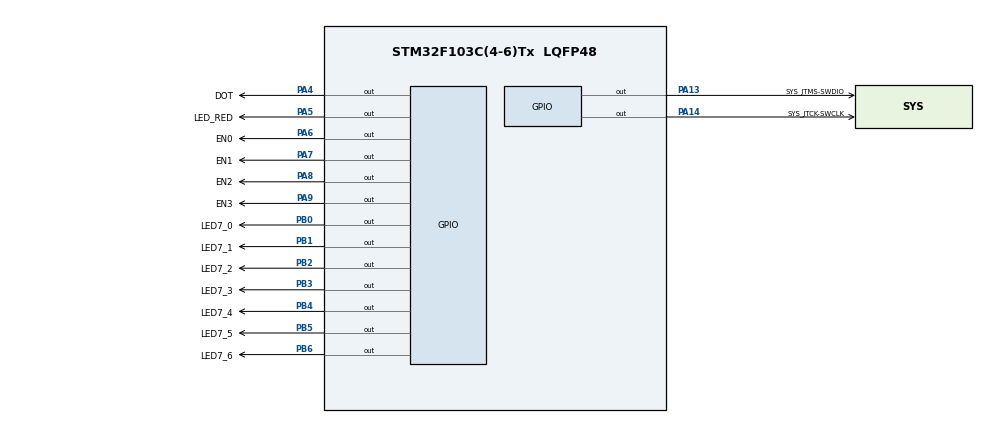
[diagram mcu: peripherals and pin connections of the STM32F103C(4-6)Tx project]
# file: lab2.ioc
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Mcu.Family=STM32F1
Mcu.Name=STM32F103C(4-6)Tx
Mcu.Package=LQFP48
NVIC.PriorityGroup=NVIC_PRIORITYGROUP_4
NVIC.TIM2_IRQn=true\:0\:0\:false\:false\:true\:true\:true
PA13.GPIO_Label=SYS_JTMS-SWDIO
PA13.Signal=GPIO_Output
PA14.GPIO_Label=SYS_JTCK-SWCLK
PA14.Signal=GPIO_Output
PA4.GPIO_Label=DOT
PA4.Signal=GPIO_Output
PA5.GPIO_Label=LED_RED
PA5.Signal=GPIO_Output
PA6.GPIO_Label=EN0
PA6.Signal=GPIO_Output
PA7.GPIO_Label=EN1
PA7.Signal=GPIO_Output
PA8.GPIO_Label=EN2
PA8.Signal=GPIO_Output
PA9.GPIO_Label=EN3
PA9.Signal=GPIO_Output
PB0.GPIO_Label=LED7_0
PB0.Signal=GPIO_Output
PB1.GPIO_Label=LED7_1
PB1.Signal=GPIO_Output
PB2.GPIO_Label=LED7_2
PB2.Signal=GPIO_Output
PB3.GPIO_Label=LED7_3
PB3.Signal=GPIO_Output
PB4.GPIO_Label=LED7_4
PB4.Signal=GPIO_Output
PB5.GPIO_Label=LED7_5
PB5.Signal=GPIO_Output
PB6.GPIO_Label=LED7_6
PB6.Signal=GPIO_Output
ProjectManager.HeapSize=0x200
ProjectManager.StackSize=0x400
ProjectManager.TargetToolchain=STM32CubeIDE
RCC.APB1Freq_Value=8000000
RCC.APB2Freq_Value=8000000
TIM2.Period=9
TIM2.Prescaler=7999
VP_SYS_VS_ND.Mode=No_Debug
VP_TIM2_VS_ClockSourceINT.Mode=Internal
board=custom

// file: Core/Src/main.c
/* USER CODE BEGIN Header */
/**
  ******************************************************************************
  * @file           : main.c
  * @brief          : Main program body
  ******************************************************************************
  * @attention
  *
  * <h2><center>&copy; Copyright (c) 2023 STMicroelectronics.
  * All rights reserved.</center></h2>
  *
  * This software component is licensed by ST under BSD 3-Clause license,
  * the "License"; You may not use this file except in compliance with the
  * License. You may obtain a copy of the License at:
  *                        opensource.org/licenses/BSD-3-Clause
  *
  ******************************************************************************
  */
/* USER CODE END Header */
#include "main.h"

/* USER CODE BEGIN Includes */
#include "software_timer.h"
#include "display_7_seg.h"
/* USER CODE END Includes */

TIM_HandleTypeDef htim2;

void SystemClock_Config(void);
static void MX_TIM2_Init(void);
static void MX_GPIO_Init(void);

/* USER CODE BEGIN 0 */
const int MAX_LED = 4;
int index_led = 0;
int led_buffer [4] = {1 , 2 , 3 , 4};
void update7SEG ( int index ) {
	 switch ( index ) {
		 case 0:
			 HAL_GPIO_WritePin ( EN0_GPIO_Port , EN0_Pin , 0) ;
			 HAL_GPIO_WritePin ( GPIOA , EN1_Pin | EN2_Pin | EN3_Pin , 1) ;
			 display7SEG ( led_buffer [ index ]) ;
			 break ;
		 case 1:
			 HAL_GPIO_WritePin ( EN1_GPIO_Port , EN1_Pin , 0) ;
			 HAL_GPIO_WritePin ( GPIOA , EN0_Pin | EN2_Pin | EN3_Pin , 1) ;
			 display7SEG ( led_buffer [ index ]) ;
			 break ;
		 case 2:
			 HAL_GPIO_WritePin ( EN2_GPIO_Port , EN2_Pin , 0) ;
			 HAL_GPIO_WritePin ( GPIOA , EN0_Pin | EN1_Pin | EN3_Pin , 1) ;
			 display7SEG ( led_buffer [ index ]) ;
			 break ;
		 case 3:
			 HAL_GPIO_WritePin ( EN3_GPIO_Port , EN3_Pin , 0) ;
			 HAL_GPIO_WritePin ( GPIOA , EN0_Pin | EN1_Pin | EN2_Pin , 1) ;
			 display7SEG ( led_buffer [ index ]) ;
			 break ;
		 default :
			 break ;
 	 }
 }
int hour = 15 , minute = 8 , second = 55;

void updateClockBuffer () {
	if( hour < 10) {
		led_buffer [0] = 0;
		led_buffer [1] = hour ;
	} else {
		led_buffer [0] = hour / 10;
		led_buffer [1] = hour % 10;
	}
	if( minute < 10) {
		led_buffer [2] = 0;
		led_buffer [3] = minute ;
	} else {
		led_buffer [2] = minute / 10;
		led_buffer [3] = minute % 10;
	}

}
/* USER CODE END 0 */

int main(void)
{

  /* MCU Configuration--------------------------------------------------------*/

  /* Reset of all peripherals, Initializes the Flash interface and the Systick. */
  HAL_Init();

  /* Configure the system clock */
  SystemClock_Config();

  /* Initialize all configured peripherals */
  MX_TIM2_Init();
  MX_GPIO_Init();
  /* USER CODE BEGIN 2 */
  HAL_TIM_Base_Start_IT (& htim2 ) ;
  /* USER CODE END 2 */

  /* Infinite loop */
  /* USER CODE BEGIN WHILE */
  setTimer1(1);
  setTimer2(100);
  setTimer3(1);
  init7SEG();
  while (1)
  {
	if(timer3_flag){
		setTimer3(25);
		if(index_led>3){
			index_led=0;
		}
		update7SEG(index_led++);
	}
	if(timer2_flag){
		HAL_GPIO_TogglePin(DOT_GPIO_Port, DOT_Pin);
		setTimer2(100);
	}
	if(timer1_flag){
		HAL_GPIO_TogglePin( LED_RED_GPIO_Port , LED_RED_Pin ) ;
		setTimer1(100) ;
		second++;
		if( second >= 60) {
			second = 0;
			minute++;
		}
		if( minute >= 60) {
			minute = 0;
			hour++;
		}
		if( hour >= 24)
			hour = 0;
		updateClockBuffer() ;
	}
    /* USER CODE END WHILE */

  }
}

void SystemClock_Config(void)
{
  RCC_OscInitTypeDef RCC_OscInitStruct = {0};
  RCC_ClkInitTypeDef RCC_ClkInitStruct = {0};

  /** Initializes the RCC Oscillators according to the specified parameters
  * in the RCC_OscInitTypeDef structure.
  */
  RCC_OscInitStruct.OscillatorType = RCC_OSCILLATORTYPE_HSI;
  RCC_OscInitStruct.HSIState = RCC_HSI_ON;
  RCC_OscInitStruct.HSICalibrationValue = RCC_HSICALIBRATION_DEFAULT;
  RCC_OscInitStruct.PLL.PLLState = RCC_PLL_NONE;
  if (HAL_RCC_OscConfig(&RCC_OscInitStruct) != HAL_OK)
  {
    Error_Handler();
  }
  /** Initializes the CPU, AHB and APB buses clocks
  */
  RCC_ClkInitStruct.ClockType = RCC_CLOCKTYPE_HCLK|RCC_CLOCKTYPE_SYSCLK
                              |RCC_CLOCKTYPE_PCLK1|RCC_CLOCKTYPE_PCLK2;
  RCC_ClkInitStruct.SYSCLKSource = RCC_SYSCLKSOURCE_HSI;
  RCC_ClkInitStruct.AHBCLKDivider = RCC_SYSCLK_DIV1;
  RCC_ClkInitStruct.APB1CLKDivider = RCC_HCLK_DIV1;
  RCC_ClkInitStruct.APB2CLKDivider = RCC_HCLK_DIV1;

  if (HAL_RCC_ClockConfig(&RCC_ClkInitStruct, FLASH_LATENCY_0) != HAL_OK)
  {
    Error_Handler();
  }
}

static void MX_TIM2_Init(void)
{

  TIM_ClockConfigTypeDef sClockSourceConfig = {0};
  TIM_MasterConfigTypeDef sMasterConfig = {0};

  htim2.Instance = TIM2;
  htim2.Init.Prescaler = 7999;
  htim2.Init.CounterMode = TIM_COUNTERMODE_UP;
  htim2.Init.Period = 9;
  htim2.Init.ClockDivision = TIM_CLOCKDIVISION_DIV1;
  htim2.Init.AutoReloadPreload = TIM_AUTORELOAD_PRELOAD_DISABLE;
  if (HAL_TIM_Base_Init(&htim2) != HAL_OK)
  {
    Error_Handler();
  }
  sClockSourceConfig.ClockSource = TIM_CLOCKSOURCE_INTERNAL;
  if (HAL_TIM_ConfigClockSource(&htim2, &sClockSourceConfig) != HAL_OK)
  {
    Error_Handler();
  }
  sMasterConfig.MasterOutputTrigger = TIM_TRGO_RESET;
  sMasterConfig.MasterSlaveMode = TIM_MASTERSLAVEMODE_DISABLE;
  if (HAL_TIMEx_MasterConfigSynchronization(&htim2, &sMasterConfig) != HAL_OK)
  {
    Error_Handler();
  }

}

static void MX_GPIO_Init(void)
{
  GPIO_InitTypeDef GPIO_InitStruct = {0};

  /* GPIO Ports Clock Enable */
  __HAL_RCC_GPIOA_CLK_ENABLE();
  __HAL_RCC_GPIOB_CLK_ENABLE();

  /*Configure GPIO pin Output Level */
  HAL_GPIO_WritePin(GPIOA, DOT_Pin|LED_RED_Pin|EN0_Pin|EN1_Pin
                          |EN2_Pin|EN3_Pin, GPIO_PIN_RESET);

  /*Configure GPIO pin Output Level */
  HAL_GPIO_WritePin(GPIOB, LED7_0_Pin|LED7_1_Pin|LED7_2_Pin|LED7_3_Pin
                          |LED7_4_Pin|LED7_5_Pin|LED7_6_Pin, GPIO_PIN_RESET);

  /*Configure GPIO pins : DOT_Pin LED_RED_Pin EN0_Pin EN1_Pin
                           EN2_Pin EN3_Pin */
  GPIO_InitStruct.Pin = DOT_Pin|LED_RED_Pin|EN0_Pin|EN1_Pin
                          |EN2_Pin|EN3_Pin;
  GPIO_InitStruct.Mode = GPIO_MODE_OUTPUT_PP;
  GPIO_InitStruct.Pull = GPIO_NOPULL;
  GPIO_InitStruct.Speed = GPIO_SPEED_FREQ_LOW;
  HAL_GPIO_Init(GPIOA, &GPIO_InitStruct);

  /*Configure GPIO pins : LED7_0_Pin LED7_1_Pin LED7_2_Pin LED7_3_Pin
                           LED7_4_Pin LED7_5_Pin LED7_6_Pin */
  GPIO_InitStruct.Pin = LED7_0_Pin|LED7_1_Pin|LED7_2_Pin|LED7_3_Pin
                          |LED7_4_Pin|LED7_5_Pin|LED7_6_Pin;
  GPIO_InitStruct.Mode = GPIO_MODE_OUTPUT_PP;
  GPIO_InitStruct.Pull = GPIO_NOPULL;
  GPIO_InitStruct.Speed = GPIO_SPEED_FREQ_LOW;
  HAL_GPIO_Init(GPIOB, &GPIO_InitStruct);

}

/* USER CODE BEGIN 4 */
void HAL_TIM_PeriodElapsedCallback ( TIM_HandleTypeDef * htim ){
	timerRun();
}
/* USER CODE END 4 */

void Error_Handler(void)
{
  __disable_irq();
  while (1)
  {
  }
}

/************************ (C) COPYRIGHT STMicroelectronics *****END OF FILE****/
